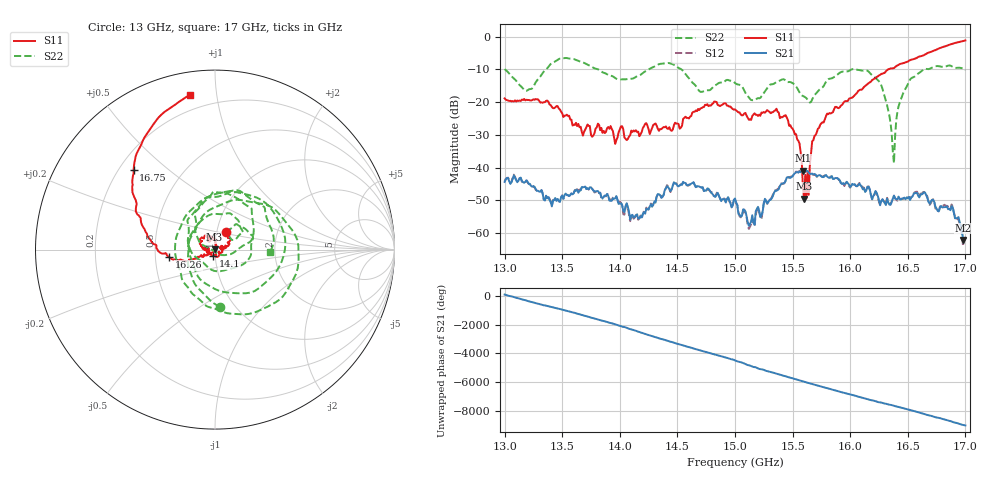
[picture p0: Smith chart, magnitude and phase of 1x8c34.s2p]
!Keysight Technologies,P9374A,MY57211807,A.19.30.04
!Date: Friday, May 08, 2026 15:10:36
!Correction: S11(C  2-Port  )
!S21(C  2-Port  )
!S12(C  2-Port  )
!S22(C  2-Port  )
!S2P File: Measurements: S11, S21, S12, S22:
# Hz S  dB  R 50
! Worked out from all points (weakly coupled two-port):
!   401 points, 13 GHz to 17 GHz, reference 50 ohm
!   highest |S21| = -40.96 dB at 15.59 GHz (marker M1); lowest = -62.2 dB at 16.98 GHz (marker M2)
!   lowest |S11| = -49.5 dB at 15.6 GHz (marker M3), VSWR 1.01, Z = 49.8 + j0.248 ohm
!   |S11| at or under -10 dB: start of sweep to 16.33 GHz
!   |S22| runs from -38.6 to -6.5 dB; largest |S21 - S12| = 0.00051
!   S11 on the Smith chart (normalised r, x): 13 GHz: 1.11, +0.21; 14.1 GHz: 0.98, -0.07; 16.26 GHz: 0.59, -0.05; 16.75 GHz: 0.26, +0.38; 17 GHz: 0.12, +0.85
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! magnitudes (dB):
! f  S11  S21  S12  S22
! 13 GHz  -18.9  -44.4  -44.2  -9.9
! 13.19 GHz  -19.3  -43.9  -44.1  -16.6
! 13.41 GHz  -21.5  -51.9  -51.7  -8.1
! 13.67 GHz  -29.1  -46.1  -46.0  -7.7
! 14.1 GHz  -28.7  -54.6  -54.8  -12.9
! 14.34 GHz  -28.8  -48.2  -48.4  -8.4
! 14.71 GHz  -21.8  -46.1  -46.2  -16.9
! 15 GHz  -22.2  -49.4  -49.7  -14.1
! 15.14 GHz  -25.4  -56.5  -57.3  -19.4
! 15.44 GHz  -24.0  -44.0  -44.0  -13.5
! 15.55 GHz  -31.8  -41.6  -41.4  -16.4
! 15.59 GHz  -46.4  -41.0  -41.0  -18.1
! 15.6 GHz  -49.5  -41.4  -41.4  -18.3
! 15.67 GHz  -32.0  -41.9  -42.0  -19.2
! 16.02 GHz  -18.6  -45.0  -45.0  -9.9
! 16.26 GHz  -11.7  -51.5  -51.5  -14.1
! 16.34 GHz  -9.9  -51.3  -51.0  -24.1
! 16.38 GHz  -9.6  -48.6  -48.6  -38.6
! 16.51 GHz  -7.4  -49.0  -49.0  -13.8
! 16.75 GHz  -3.9  -52.5  -53.0  -9.0
! 16.98 GHz  -1.4  -62.2  -64.0  -9.8
! 17 GHz  -1.2  -61.5  -61.9  -10.2
